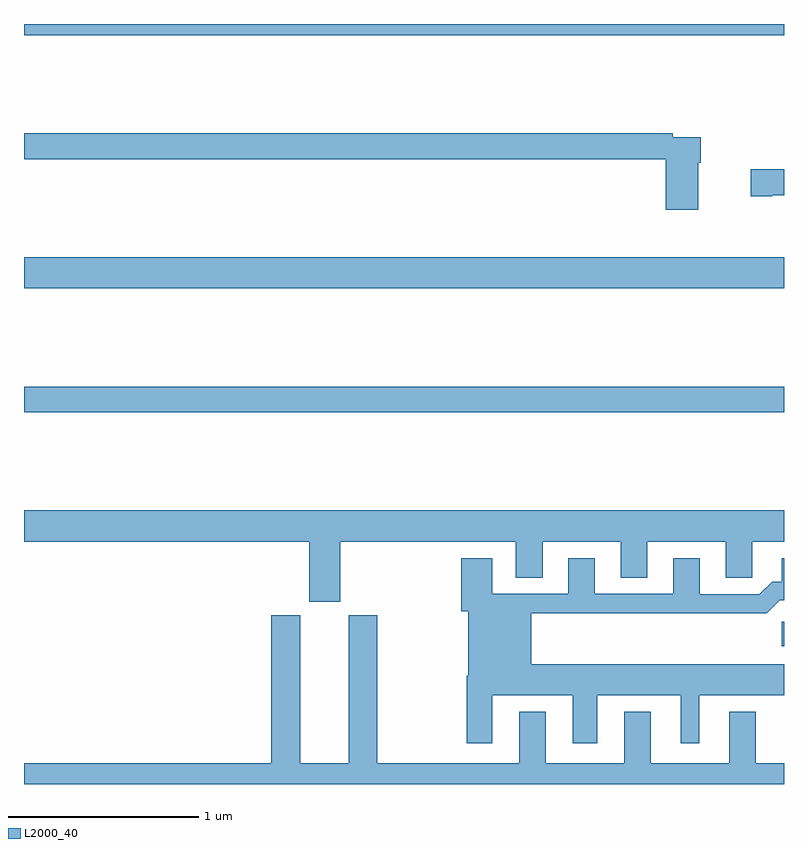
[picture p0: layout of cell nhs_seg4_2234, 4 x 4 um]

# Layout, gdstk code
import gdstk
lib = gdstk.Library(unit=1e-6, precision=1e-09)
def R(c, l, rs):  # rectangles x0, y0, x1, y1
    for r in rs: c.add(gdstk.rectangle(r[:2], r[2:], *l))
def P(c, l, *ps):  # polygons
    for p in ps: c.add(gdstk.Polygon(p, *l))
L2000_40 = (2000, 40)

nhs_seg4_2234 = lib.new_cell('nhs_seg4_2234')
R(nhs_seg4_2234, L2000_40, [(230.988,773.624,231,773.753), (227,774.856,231,774.992), (227,775.508,231,775.672), (227,776.84,231,776.9)])
P(nhs_seg4_2234, L2000_40, [(230.548,776.171),(230.561,776.171),(230.561,776.304),(230.414,776.304),(230.414,776.324),(227,776.324),(227,776.188),(230.378,776.188),(230.378,775.923),(230.548,775.923)],
  [(230.938,776),(231,776),(231,776.135),(230.826,776.135),(230.826,775.993),(230.938,775.993)],
  [(228.664,774.176),(229.589,774.176),(229.589,773.986),(229.729,773.986),(229.729,774.176),(230.141,774.176),(230.141,773.986),(230.281,773.986),(230.281,774.176),(230.693,774.176),(230.693,773.986),(230.832,773.986),(230.832,774.176),(231,774.176),(231,774.34),(227,774.34),(227,774.176),(228.5,774.176),(228.5,773.859),(228.664,773.859)],
  [(229.465,773.366),(229.889,773.366),(229.889,773.115),(230.017,773.115),(230.017,773.366),(230.456,773.366),(230.456,773.115),(230.554,773.115),(230.554,773.366),(231,773.366),(231,773.53),(229.669,773.53),(229.669,773.8),(230.653,773.8),(230.653,773.798),(230.909,773.798),(230.978,773.867),(231,773.867),(231,774.088),(230.987,774.088),(230.987,773.965),(230.938,773.965),(230.871,773.898),(230.557,773.898),(230.557,774.088),(230.417,774.088),(230.417,773.901),(230.005,773.901),(230.005,774.088),(229.865,774.088),(229.865,773.901),(229.465,773.901),(229.465,774.088),(229.301,774.088),(229.301,773.808),(229.337,773.808),(229.337,773.47),(229.33,773.47),(229.33,773.115),(229.465,773.115)],
  [(230.299,773.281),(230.159,773.281),(230.159,773.008),(229.747,773.008),(229.747,773.281),(229.607,773.281),(229.607,773.008),(228.858,773.008),(228.858,773.787),(228.71,773.787),(228.71,773.008),(228.454,773.008),(228.454,773.787),(228.302,773.787),(228.302,773.008),(227,773.008),(227,772.9),(231,772.9),(231,773.008),(230.851,773.008),(230.851,773.281),(230.711,773.281),(230.711,773.008),(230.299,773.008)])

lib.write_gds('nhs_seg4_2234.gds')
